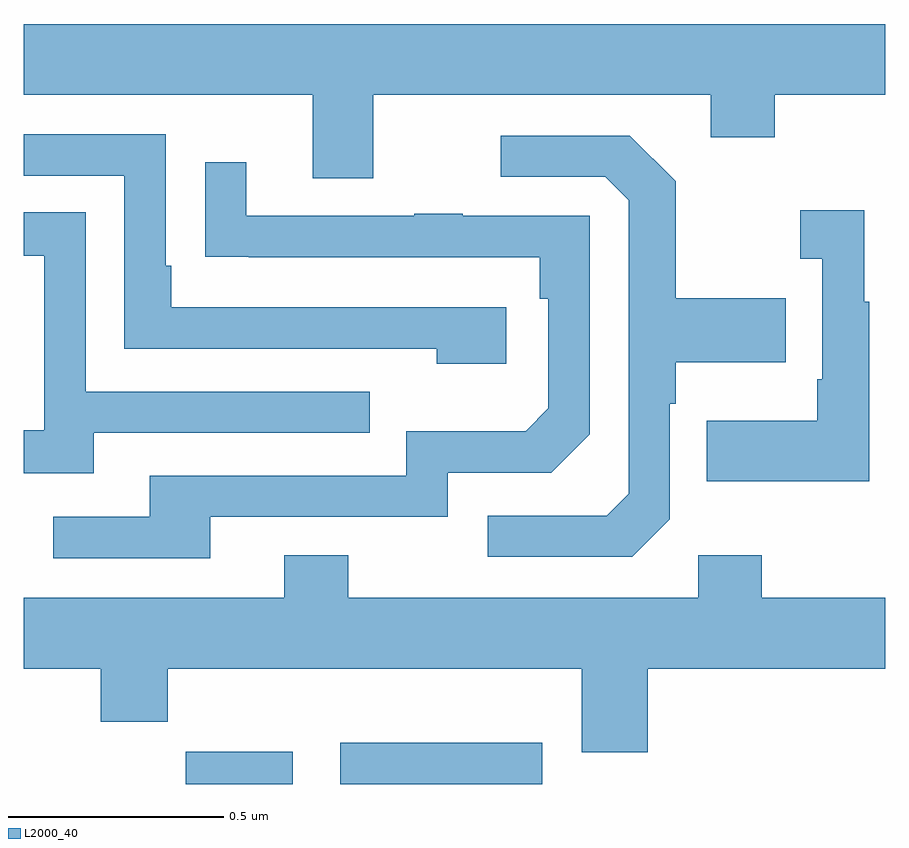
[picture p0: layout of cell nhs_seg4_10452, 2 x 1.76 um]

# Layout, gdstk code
import gdstk
lib = gdstk.Library(unit=1e-6, precision=1e-09)
def R(c, l, rs):  # rectangles x0, y0, x1, y1
    for r in rs: c.add(gdstk.rectangle(r[:2], r[2:], *l))
def P(c, l, *ps):  # polygons
    for p in ps: c.add(gdstk.Polygon(p, *l))
L2000_40 = (2000, 40)

nhs_seg4_10452 = lib.new_cell('nhs_seg4_10452')
R(nhs_seg4_10452, L2000_40, [(240.376,781.9,240.625,781.975), (240.735,781.9,241.204,781.996)])
P(nhs_seg4_10452, L2000_40, [(240.811,783.5),(241.595,783.5),(241.595,783.401),(241.743,783.401),(241.743,783.5),(242,783.5),(242,783.664),(240,783.664),(240,783.5),(240.671,783.5),(240.671,783.306),(240.811,783.306)],
  [(241.12,783.006),(240.343,783.006),(240.343,783.103),(240.33,783.103),(240.33,783.408),(240,783.408),(240,783.312),(240.234,783.312),(240.234,782.91),(240.959,782.91),(240.959,782.876),(241.12,782.876)],
  [(241.5,782.514),(241.5,782.783),(241.513,782.783),(241.513,782.879),(241.769,782.879),(241.769,783.027),(241.513,783.027),(241.513,783.299),(241.407,783.405),(241.107,783.405),(241.107,783.309),(241.35,783.309),(241.404,783.255),(241.404,782.574),(241.353,782.523),(241.077,782.523),(241.077,782.427),(241.413,782.427)],
  [(240.433,782.52),(240.984,782.52),(240.984,782.622),(241.224,782.622),(241.314,782.712),(241.314,783.219),(241.019,783.219),(241.019,783.224),(240.907,783.224),(240.907,783.219),(240.517,783.219),(240.517,783.343),(240.421,783.343),(240.421,783.124),(240.523,783.124),(240.523,783.123),(241.198,783.123),(241.198,783.026),(241.218,783.026),(241.218,782.772),(241.165,782.719),(240.888,782.719),(240.888,782.616),(240.293,782.616),(240.293,782.52),(240.069,782.52),(240.069,782.424),(240.433,782.424)],
  [(241.963,783.019),(241.951,783.019),(241.951,783.232),(241.803,783.232),(241.803,783.119),(241.854,783.119),(241.854,782.839),(241.842,782.839),(241.842,782.743),(241.585,782.743),(241.585,782.603),(241.963,782.603)],
  [(240.163,782.715),(240.803,782.715),(240.803,782.811),(240.144,782.811),(240.144,783.227),(240,783.227),(240,783.126),(240.048,783.126),(240.048,782.721),(240,782.721),(240,782.621),(240.163,782.621)],
  [(241.448,782.168),(242,782.168),(242,782.332),(241.713,782.332),(241.713,782.431),(241.566,782.431),(241.566,782.332),(240.753,782.332),(240.753,782.431),(240.605,782.431),(240.605,782.332),(240,782.332),(240,782.168),(240.179,782.168),(240.179,782.044),(240.335,782.044),(240.335,782.168),(241.295,782.168),(241.295,781.974),(241.448,781.974)])

lib.write_gds('nhs_seg4_10452.gds')
